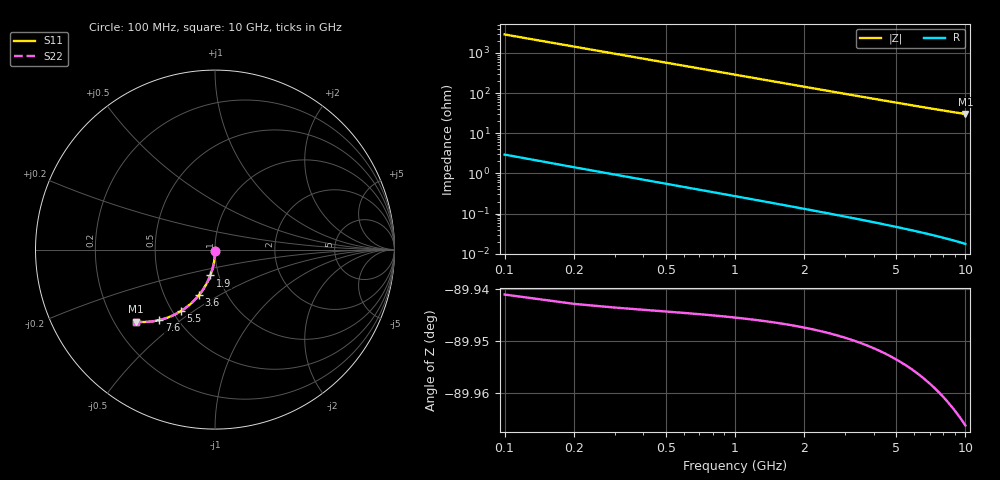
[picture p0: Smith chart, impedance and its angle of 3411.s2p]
# Hz S RI R 50.00
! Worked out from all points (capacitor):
!   100 points, 100 MHz to 10 GHz, reference 50 ohm
!   read as one part in shunt: C = 557 fF near 100 MHz
!   lowest |Z| = 30 ohm at 10 GHz (marker M1)
!   S11 on the Smith chart (normalised r, x): 100 MHz: 1.00, -0.02; 1.9 GHz: 0.91, -0.27; 3.6 GHz: 0.74, -0.41; 5.5 GHz: 0.55, -0.45; 7.6 GHz: 0.40, -0.42; 10 GHz: 0.29, -0.36
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1e8  0.000385 -0.00782  0.9994 -0.00968  0.9994 -0.00968  0.000385 -0.00782
2e8  0.000153 -0.0156  0.9992 -0.0194  0.9992 -0.0194  0.000153 -0.0156
3e8  -0.000231 -0.0234  0.9988 -0.029  0.9988 -0.029  -0.000231 -0.0234
4e8  -0.000767 -0.0312  0.9983 -0.0387  0.9983 -0.0387  -0.000767 -0.0312
5e8  -0.00145 -0.039  0.9975 -0.0483  0.9975 -0.0483  -0.00145 -0.039
6e8  -0.00229 -0.0468  0.9967 -0.0579  0.9967 -0.0579  -0.00229 -0.0468
8e8  -0.00441 -0.0622  0.9945 -0.0771  0.9945 -0.0771  -0.00441 -0.0622
1.1e9  -0.00869 -0.0852  0.9901 -0.1056  0.9901 -0.1056  -0.00869 -0.0852
1.4e9  -0.0143 -0.1077  0.9844 -0.1338  0.9844 -0.1338  -0.0143 -0.1077
1.8e9  -0.0236 -0.1371  0.9748 -0.1706  0.9748 -0.1706  -0.0236 -0.1371
1.9e9  -0.0263 -0.1443  0.9721 -0.1796  0.9721 -0.1796  -0.0263 -0.1443
2.2e9  -0.0351 -0.1654  0.963 -0.2064  0.963 -0.2064  -0.0351 -0.1654
2.6e9  -0.0486 -0.1925  0.9492 -0.241  0.9492 -0.241  -0.0486 -0.1925
3.4e9  -0.0807 -0.2425  0.9162 -0.306  0.9162 -0.306  -0.0807 -0.2425
3.6e9  -0.0897 -0.254  0.907 -0.3212  0.907 -0.3212  -0.0897 -0.254
4.3e9  -0.1237 -0.291  0.872 -0.3714  0.872 -0.3714  -0.1237 -0.291
5.1e9  -0.1663 -0.3266  0.828 -0.4221  0.828 -0.4221  -0.1663 -0.3266
5.5e9  -0.1887 -0.3417  0.8049 -0.4448  0.8049 -0.4448  -0.1887 -0.3417
6.7e9  -0.2579 -0.3763  0.733 -0.5025  0.733 -0.5025  -0.2579 -0.3763
7.6e9  -0.3102 -0.3925  0.6783 -0.5361  0.6783 -0.5361  -0.3102 -0.3925
8.4e9  -0.3557 -0.4006  0.6304 -0.5598  0.6304 -0.5598  -0.3557 -0.4006
1e10  -0.4415 -0.4016  0.539 -0.5925  0.539 -0.5925  -0.4415 -0.4016
